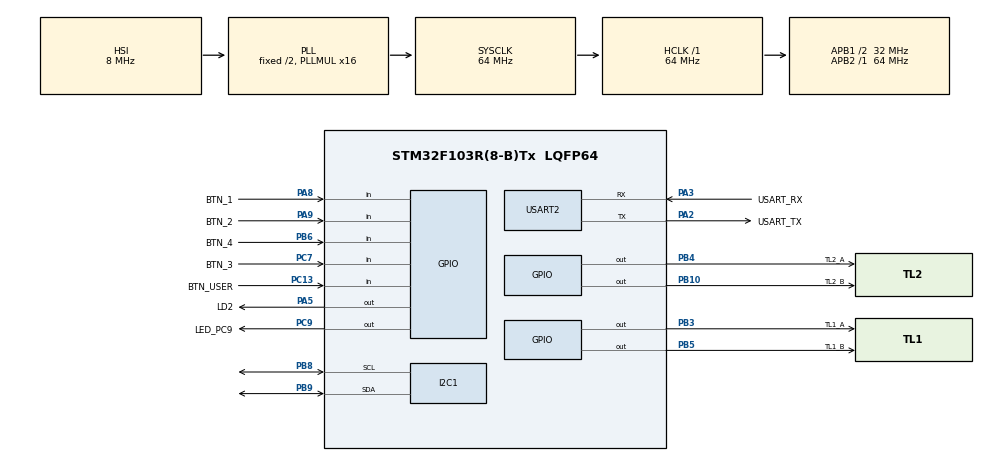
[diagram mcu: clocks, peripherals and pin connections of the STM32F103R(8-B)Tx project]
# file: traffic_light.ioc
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Mcu.Family=STM32F1
Mcu.Name=STM32F103R(8-B)Tx
Mcu.Package=LQFP64
NVIC.PriorityGroup=NVIC_PRIORITYGROUP_4
NVIC.TIM2_IRQn=true\:0\:0\:false\:false\:true\:true\:true\:true
PA13.GPIO_Label=TMS
PA13.Mode=Serial_Wire
PA13.Signal=SYS_JTMS-SWDIO
PA14.GPIO_Label=TCK
PA14.Mode=Serial_Wire
PA14.Signal=SYS_JTCK-SWCLK
PA2.GPIO_Label=USART_TX
PA2.GPIO_Mode=GPIO_MODE_AF_PP
PA2.GPIO_PuPd=GPIO_NOPULL
PA2.GPIO_Speed=GPIO_SPEED_FREQ_LOW
PA2.Mode=Asynchronous
PA2.Signal=USART2_TX
PA3.GPIO_Label=USART_RX
PA3.GPIO_Mode=GPIO_MODE_AF_PP
PA3.GPIO_PuPd=GPIO_NOPULL
PA3.GPIO_Speed=GPIO_SPEED_FREQ_LOW
PA3.Mode=Asynchronous
PA3.Signal=USART2_RX
PA5.GPIO_Label=LD2
PA5.GPIO_ModeDefaultOutputPP=GPIO_MODE_OUTPUT_PP
PA5.GPIO_PuPd=GPIO_NOPULL
PA5.GPIO_Speed=GPIO_SPEED_FREQ_LOW
PA5.Signal=GPIO_Output
PA8.GPIO_Label=BTN_1
PA8.GPIO_PuPd=GPIO_PULLUP
PA8.Signal=GPIO_Input
PA9.GPIO_Label=BTN_2
PA9.GPIO_PuPd=GPIO_PULLUP
PA9.Signal=GPIO_Input
PB10.GPIO_Label=TL2_B
PB10.Signal=GPIO_Output
PB3.GPIO_Label=TL1_A
PB3.Signal=GPIO_Output
PB4.GPIO_Label=TL2_A
PB4.Signal=GPIO_Output
PB5.GPIO_Label=TL1_B
PB5.Signal=GPIO_Output
PB6.GPIO_Label=BTN_4
PB6.GPIO_PuPd=GPIO_PULLUP
PB6.Signal=GPIO_Input
PB8.Mode=I2C
PB8.Signal=I2C1_SCL
PB9.Mode=I2C
PB9.Signal=I2C1_SDA
PC13-TAMPER-RTC.GPIO_Label=BTN_USER
PC13-TAMPER-RTC.GPIO_PuPd=GPIO_NOPULL
PC13-TAMPER-RTC.Signal=GPIO_Input
PC14-OSC32_IN.Mode=LSE-External-Oscillator
PC14-OSC32_IN.Signal=RCC_OSC32_IN
PC15-OSC32_OUT.Mode=LSE-External-Oscillator
PC15-OSC32_OUT.Signal=RCC_OSC32_OUT
PC7.GPIO_Label=BTN_3
PC7.GPIO_PuPd=GPIO_PULLUP
PC7.Signal=GPIO_Input
PC9.GPIO_Label=LED_PC9
PC9.Signal=GPIO_Output
PD0-OSC_IN.Mode=HSE-External-Clock-Source
PD0-OSC_IN.Signal=RCC_OSC_IN
PD1-OSC_OUT.Mode=HSE-External-Clock-Source
PD1-OSC_OUT.Signal=RCC_OSC_OUT
ProjectManager.HeapSize=0x200
ProjectManager.StackSize=0x400
ProjectManager.TargetToolchain=STM32CubeIDE
RCC.AHBFreq_Value=64000000
RCC.APB1CLKDivider=RCC_HCLK_DIV2
RCC.APB1Freq_Value=32000000
RCC.APB1TimFreq_Value=64000000
RCC.APB2Freq_Value=64000000
RCC.APB2TimFreq_Value=64000000
RCC.HCLKFreq_Value=64000000
RCC.PLLMUL=RCC_PLL_MUL16
RCC.RTCClockSelection=RCC_RTCCLKSOURCE_LSE
RCC.SYSCLKFreq_VALUE=64000000
RCC.SYSCLKSource=RCC_SYSCLKSOURCE_PLLCLK
RCC.USBFreq_Value=64000000
TIM2.Period=99
TIM2.Prescaler=6399
USART2.VirtualMode=VM_ASYNC
VP_TIM2_VS_ClockSourceINT.Mode=Internal
board=NUCLEO-F103RB

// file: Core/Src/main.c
/* USER CODE BEGIN Header */
/**
 ******************************************************************************
 * @file           : main.c
 * @brief          : Main program body
 ******************************************************************************
 * @attention
 *
 * Copyright (c) 2026 STMicroelectronics.
 * All rights reserved.
 *
 * This software is licensed under terms that can be found in the LICENSE file
 * in the root directory of this software component.
 * If no LICENSE file comes with this software, it is provided AS-IS.
 *
 ******************************************************************************
 */
/* USER CODE END Header */
#include "main.h"

/* USER CODE BEGIN Includes */
#include "scheduler.h"
#include "software_timer.h"
#include "button.h"
#include "global.h"
#include "traffic_light.h"
#include "dht20.h"
#include "lcd.h"
#include "fsm_automatic.h"
#include "fsm_manual.h"
#include "fsm_setting.h"
/* USER CODE END Includes */

I2C_HandleTypeDef hi2c1;

TIM_HandleTypeDef htim2;

UART_HandleTypeDef huart2;

void SystemClock_Config(void);
static void MX_GPIO_Init(void);
static void MX_I2C1_Init(void);
static void MX_TIM2_Init(void);
static void MX_USART2_UART_Init(void);

int main(void) {

	/* MCU Configuration--------------------------------------------------------*/

	/* Reset of all peripherals, Initializes the Flash interface and the Systick. */
	HAL_Init();

	/* Configure the system clock */
	SystemClock_Config();

	/* Initialize all configured peripherals */
	MX_GPIO_Init();
	MX_I2C1_Init();
	MX_TIM2_Init();
	MX_USART2_UART_Init();
	/* USER CODE BEGIN 2 */
	lcd_init();
	dht20_init();
	lcd_show_boot_msg();
	fsm_automatic_init();
	setTimer(1, 250);
	SCH_Init();
	SCH_Add_Task(timer_run, 0, 10);
	SCH_Add_Task(button_reading, 0, 10);
	SCH_Add_Task(fsm_automatic, 0, 10);
	SCH_Add_Task(fsm_manual, 0, 10);
	SCH_Add_Task(fsm_setting, 0, 10);
	SCH_Add_Task(dht20_read, 50, 50);
	SCH_Add_Task(lcd_update, 100, 100);
	SCH_Add_Task(lcd_clear_boot_msg, 1500, 0); // One-shot task (Period = 0)
	HAL_TIM_Base_Start_IT(&htim2);
	/* USER CODE END 2 */

	/* Infinite loop */
	/* USER CODE BEGIN WHILE */
	while (1) {
		SCH_Dispatch_Tasks();
		/* USER CODE END WHILE */

	}
}

void SystemClock_Config(void) {
	RCC_OscInitTypeDef RCC_OscInitStruct = { 0 };
	RCC_ClkInitTypeDef RCC_ClkInitStruct = { 0 };

	/** Initializes the RCC Oscillators according to the specified parameters
	 * in the RCC_OscInitTypeDef structure.
	 */
	RCC_OscInitStruct.OscillatorType = RCC_OSCILLATORTYPE_HSI;
	RCC_OscInitStruct.HSIState = RCC_HSI_ON;
	RCC_OscInitStruct.HSICalibrationValue = RCC_HSICALIBRATION_DEFAULT;
	RCC_OscInitStruct.PLL.PLLState = RCC_PLL_ON;
	RCC_OscInitStruct.PLL.PLLSource = RCC_PLLSOURCE_HSI_DIV2;
	RCC_OscInitStruct.PLL.PLLMUL = RCC_PLL_MUL16;
	if (HAL_RCC_OscConfig(&RCC_OscInitStruct) != HAL_OK) {
		Error_Handler();
	}

	/** Initializes the CPU, AHB and APB buses clocks
	 */
	RCC_ClkInitStruct.ClockType = RCC_CLOCKTYPE_HCLK | RCC_CLOCKTYPE_SYSCLK
			| RCC_CLOCKTYPE_PCLK1 | RCC_CLOCKTYPE_PCLK2;
	RCC_ClkInitStruct.SYSCLKSource = RCC_SYSCLKSOURCE_PLLCLK;
	RCC_ClkInitStruct.AHBCLKDivider = RCC_SYSCLK_DIV1;
	RCC_ClkInitStruct.APB1CLKDivider = RCC_HCLK_DIV2;
	RCC_ClkInitStruct.APB2CLKDivider = RCC_HCLK_DIV1;

	if (HAL_RCC_ClockConfig(&RCC_ClkInitStruct, FLASH_LATENCY_2) != HAL_OK) {
		Error_Handler();
	}
}

static void MX_I2C1_Init(void) {

	hi2c1.Instance = I2C1;
	hi2c1.Init.ClockSpeed = 100000;
	hi2c1.Init.DutyCycle = I2C_DUTYCYCLE_2;
	hi2c1.Init.OwnAddress1 = 0;
	hi2c1.Init.AddressingMode = I2C_ADDRESSINGMODE_7BIT;
	hi2c1.Init.DualAddressMode = I2C_DUALADDRESS_DISABLE;
	hi2c1.Init.OwnAddress2 = 0;
	hi2c1.Init.GeneralCallMode = I2C_GENERALCALL_DISABLE;
	hi2c1.Init.NoStretchMode = I2C_NOSTRETCH_DISABLE;
	if (HAL_I2C_Init(&hi2c1) != HAL_OK) {
		Error_Handler();
	}

}

static void MX_TIM2_Init(void) {

	TIM_ClockConfigTypeDef sClockSourceConfig = { 0 };
	TIM_MasterConfigTypeDef sMasterConfig = { 0 };

	htim2.Instance = TIM2;
	htim2.Init.Prescaler = 6399;
	htim2.Init.CounterMode = TIM_COUNTERMODE_UP;
	htim2.Init.Period = 99;
	htim2.Init.ClockDivision = TIM_CLOCKDIVISION_DIV1;
	htim2.Init.AutoReloadPreload = TIM_AUTORELOAD_PRELOAD_DISABLE;
	if (HAL_TIM_Base_Init(&htim2) != HAL_OK) {
		Error_Handler();
	}
	sClockSourceConfig.ClockSource = TIM_CLOCKSOURCE_INTERNAL;
	if (HAL_TIM_ConfigClockSource(&htim2, &sClockSourceConfig) != HAL_OK) {
		Error_Handler();
	}
	sMasterConfig.MasterOutputTrigger = TIM_TRGO_RESET;
	sMasterConfig.MasterSlaveMode = TIM_MASTERSLAVEMODE_DISABLE;
	if (HAL_TIMEx_MasterConfigSynchronization(&htim2, &sMasterConfig)
			!= HAL_OK) {
		Error_Handler();
	}

}

static void MX_USART2_UART_Init(void) {

	huart2.Instance = USART2;
	huart2.Init.BaudRate = 115200;
	huart2.Init.WordLength = UART_WORDLENGTH_8B;
	huart2.Init.StopBits = UART_STOPBITS_1;
	huart2.Init.Parity = UART_PARITY_NONE;
	huart2.Init.Mode = UART_MODE_TX_RX;
	huart2.Init.HwFlowCtl = UART_HWCONTROL_NONE;
	huart2.Init.OverSampling = UART_OVERSAMPLING_16;
	if (HAL_UART_Init(&huart2) != HAL_OK) {
		Error_Handler();
	}

}

static void MX_GPIO_Init(void) {
	GPIO_InitTypeDef GPIO_InitStruct = { 0 };

	/* GPIO Ports Clock Enable */
	__HAL_RCC_GPIOC_CLK_ENABLE();
	__HAL_RCC_GPIOD_CLK_ENABLE();
	__HAL_RCC_GPIOA_CLK_ENABLE();
	__HAL_RCC_GPIOB_CLK_ENABLE();

	/*Configure GPIO pin Output Level */
	HAL_GPIO_WritePin(LD2_GPIO_Port, LD2_Pin, GPIO_PIN_RESET);

	/*Configure GPIO pin Output Level */
	HAL_GPIO_WritePin(GPIOB, TL2_B_Pin | TL1_A_Pin | TL2_A_Pin | TL1_B_Pin,
			GPIO_PIN_RESET);

	/*Configure GPIO pin Output Level */
	HAL_GPIO_WritePin(LED_PC9_GPIO_Port, LED_PC9_Pin, GPIO_PIN_RESET);

	/*Configure GPIO pin : BTN_USER_Pin */
	GPIO_InitStruct.Pin = BTN_USER_Pin;
	GPIO_InitStruct.Mode = GPIO_MODE_INPUT;
	GPIO_InitStruct.Pull = GPIO_NOPULL;
	HAL_GPIO_Init(BTN_USER_GPIO_Port, &GPIO_InitStruct);

	/*Configure GPIO pin : LD2_Pin */
	GPIO_InitStruct.Pin = LD2_Pin;
	GPIO_InitStruct.Mode = GPIO_MODE_OUTPUT_PP;
	GPIO_InitStruct.Pull = GPIO_NOPULL;
	GPIO_InitStruct.Speed = GPIO_SPEED_FREQ_LOW;
	HAL_GPIO_Init(LD2_GPIO_Port, &GPIO_InitStruct);

	/*Configure GPIO pins : TL2_B_Pin TL1_A_Pin TL2_A_Pin TL1_B_Pin */
	GPIO_InitStruct.Pin = TL2_B_Pin | TL1_A_Pin | TL2_A_Pin | TL1_B_Pin;
	GPIO_InitStruct.Mode = GPIO_MODE_OUTPUT_PP;
	GPIO_InitStruct.Pull = GPIO_NOPULL;
	GPIO_InitStruct.Speed = GPIO_SPEED_FREQ_LOW;
	HAL_GPIO_Init(GPIOB, &GPIO_InitStruct);

	/*Configure GPIO pin : BTN_3_Pin */
	GPIO_InitStruct.Pin = BTN_3_Pin;
	GPIO_InitStruct.Mode = GPIO_MODE_INPUT;
	GPIO_InitStruct.Pull = GPIO_PULLUP;
	HAL_GPIO_Init(BTN_3_GPIO_Port, &GPIO_InitStruct);

	/*Configure GPIO pin : LED_PC9_Pin */
	GPIO_InitStruct.Pin = LED_PC9_Pin;
	GPIO_InitStruct.Mode = GPIO_MODE_OUTPUT_PP;
	GPIO_InitStruct.Pull = GPIO_NOPULL;
	GPIO_InitStruct.Speed = GPIO_SPEED_FREQ_LOW;
	HAL_GPIO_Init(LED_PC9_GPIO_Port, &GPIO_InitStruct);

	/*Configure GPIO pins : BTN_1_Pin BTN_2_Pin */
	GPIO_InitStruct.Pin = BTN_1_Pin | BTN_2_Pin;
	GPIO_InitStruct.Mode = GPIO_MODE_INPUT;
	GPIO_InitStruct.Pull = GPIO_PULLUP;
	HAL_GPIO_Init(GPIOA, &GPIO_InitStruct);

	/*Configure GPIO pin : BTN_4_Pin */
	GPIO_InitStruct.Pin = BTN_4_Pin;
	GPIO_InitStruct.Mode = GPIO_MODE_INPUT;
	GPIO_InitStruct.Pull = GPIO_PULLUP;
	HAL_GPIO_Init(BTN_4_GPIO_Port, &GPIO_InitStruct);

}

/* USER CODE BEGIN 4 */
void HAL_TIM_PeriodElapsedCallback(TIM_HandleTypeDef *htim) {
	if (htim->Instance == TIM2) {
		SCH_Update();
	}
}
/* USER CODE END 4 */

void Error_Handler(void) {
	__disable_irq();
	while (1) {
	}
}
